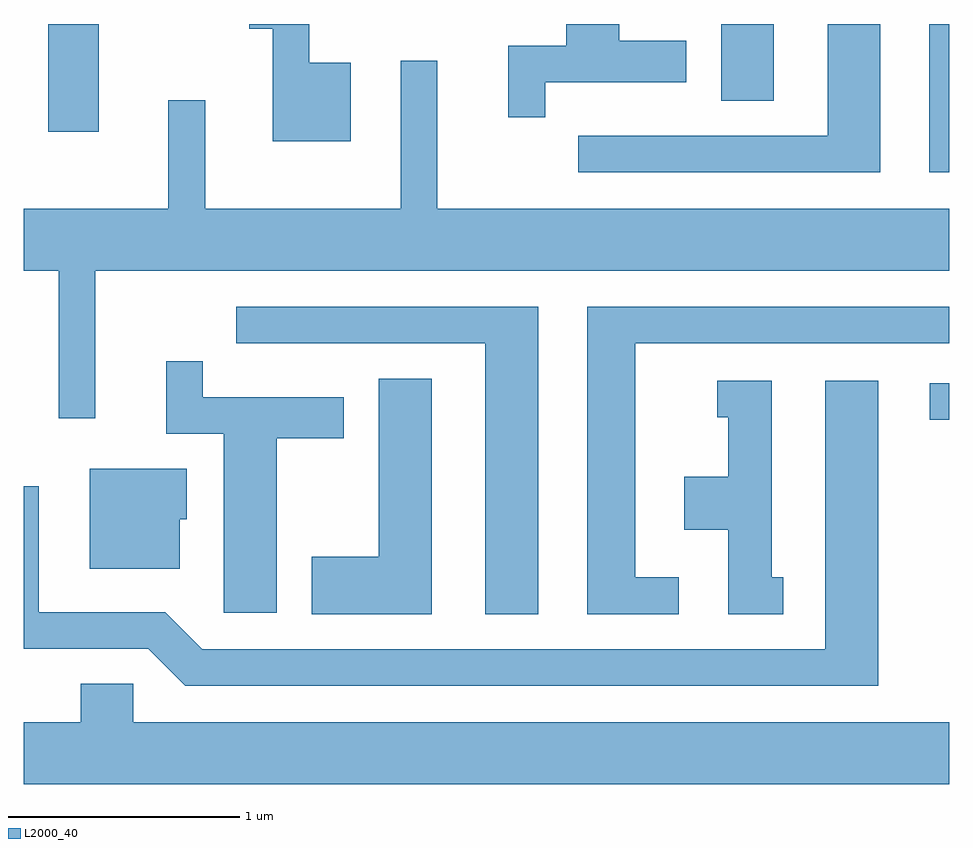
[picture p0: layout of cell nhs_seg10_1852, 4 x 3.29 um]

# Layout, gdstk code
import gdstk
lib = gdstk.Library(unit=1e-6, precision=1e-09)
def R(c, l, rs):  # rectangles x0, y0, x1, y1
    for r in rs: c.add(gdstk.rectangle(r[:2], r[2:], *l))
def P(c, l, *ps):  # polygons
    for p in ps: c.add(gdstk.Polygon(p, *l))
L2000_40 = (2000, 40)

nhs_seg10_1852 = lib.new_cell('nhs_seg10_1852')
R(nhs_seg10_1852, L2000_40, [(243.528,2128.811,243.611,2128.969), (243.526,2129.881,243.611,2130.522), (239.716,2130.056,239.934,2130.522), (242.626,2130.191,242.854,2130.522)])
P(nhs_seg10_1852, L2000_40, [(241.864,2130.271),(242.474,2130.271),(242.474,2130.449),(242.184,2130.449),(242.184,2130.522),(241.956,2130.522),(241.956,2130.429),(241.706,2130.429),(241.706,2130.118),(241.864,2130.118)],
  [(243.314,2130.522),(243.086,2130.522),(243.086,2130.039),(242.008,2130.039),(242.008,2129.881),(243.314,2129.881)],
  [(241.024,2130.354),(240.844,2130.354),(240.844,2130.522),(240.586,2130.522),(240.586,2130.501),(240.686,2130.501),(240.686,2130.016),(241.024,2130.016)],
  [(239.919,2129.456),(243.611,2129.456),(243.611,2129.724),(241.399,2129.724),(241.399,2130.363),(241.241,2130.363),(241.241,2129.724),(240.394,2129.724),(240.394,2130.193),(240.236,2130.193),(240.236,2129.724),(239.611,2129.724),(239.611,2129.456),(239.761,2129.456),(239.761,2128.818),(239.919,2128.818)],
  [(241.834,2129.299),(240.528,2129.299),(240.528,2129.141),(241.606,2129.141),(241.606,2127.971),(241.834,2127.971)],
  [(242.443,2128.129),(242.254,2128.129),(242.254,2129.141),(243.611,2129.141),(243.611,2129.299),(242.046,2129.299),(242.046,2127.971),(242.443,2127.971)],
  [(240.704,2128.731),(240.994,2128.731),(240.994,2128.909),(240.384,2128.909),(240.384,2129.063),(240.226,2129.063),(240.226,2128.751),(240.476,2128.751),(240.476,2127.976),(240.704,2127.976)],
  [(241.374,2128.989),(241.146,2128.989),(241.146,2128.219),(240.856,2128.219),(240.856,2127.971),(241.374,2127.971)],
  [(243.304,2128.979),(243.076,2128.979),(243.076,2127.819),(240.382,2127.819),(240.222,2127.979),(239.674,2127.979),(239.674,2128.523),(239.611,2128.523),(239.611,2127.821),(240.149,2127.821),(240.309,2127.661),(243.304,2127.661)],
  [(242.893,2128.129),(242.844,2128.129),(242.844,2128.979),(242.608,2128.979),(242.608,2128.821),(242.656,2128.821),(242.656,2128.564),(242.466,2128.564),(242.466,2128.336),(242.656,2128.336),(242.656,2127.971),(242.893,2127.971)],
  [(240.284,2128.381),(240.314,2128.381),(240.314,2128.599),(239.896,2128.599),(239.896,2128.166),(240.284,2128.166)],
  [(243.611,2127.504),(240.084,2127.504),(240.084,2127.669),(239.856,2127.669),(239.856,2127.504),(239.611,2127.504),(239.611,2127.236),(243.611,2127.236)])

lib.write_gds('nhs_seg10_1852.gds')
